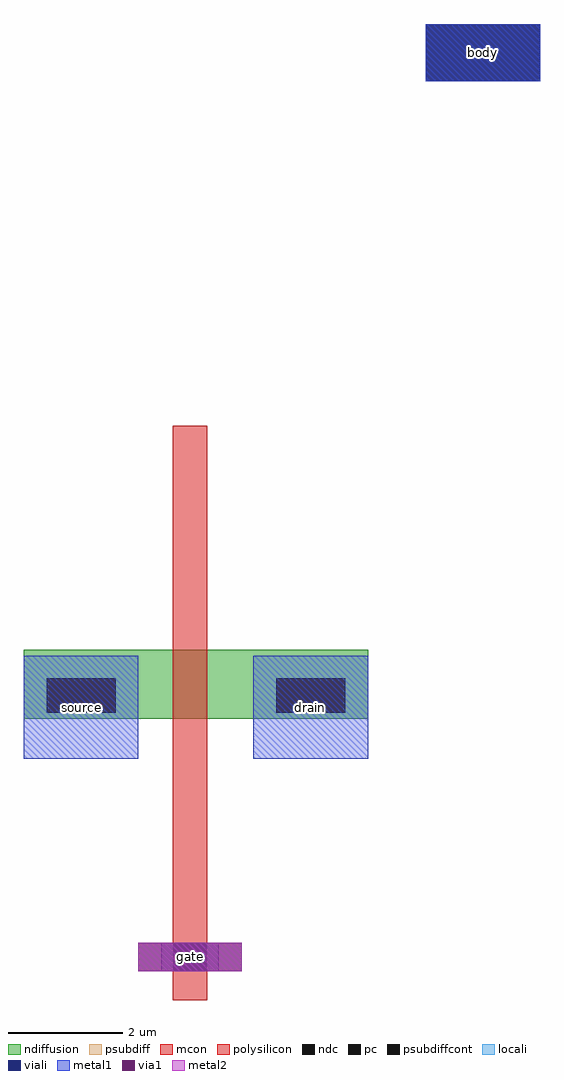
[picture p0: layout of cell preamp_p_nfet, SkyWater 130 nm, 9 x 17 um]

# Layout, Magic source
magic
tech sky130A
<< ndiffusion >>
rect 300 690 900 810
<< polysilicon >>
rect 560 200 620 1200
<< ndc >>
rect 340 700 460 760
rect 740 700 860 760
<< mcon >>
rect 560 250 620 300
rect 340 700 460 760
rect 740 700 860 760
<< metal1 >>
rect 540 250 640 300
rect 300 620 500 800
rect 700 620 900 800
rect 1000 1800 1200 1900
<< metal2 >>
rect 500 250 680 300
<< via1 >>
rect 500 250 680 300
<< pc >>
rect 560 250 620 300
<< locali >>
rect 560 250 620 300
<< psubdiff >>
rect 1000 1800 1200 1900
<< psubdiffcont >>
rect 1000 1800 1200 1900
<< viali >>
rect 1000 1800 1200 1900
<< labels >>
rlabel metal1 300 620 500 800 0 source
port 1 nsew
rlabel metal1 700 620 900 800 0 drain
port 2 nsew
rlabel metal2 500 250 680 300 0 gate
port 3 nsew
rlabel metal1 1000 1800 1200 1900 0 body
port 4 nsew
<< end >>
